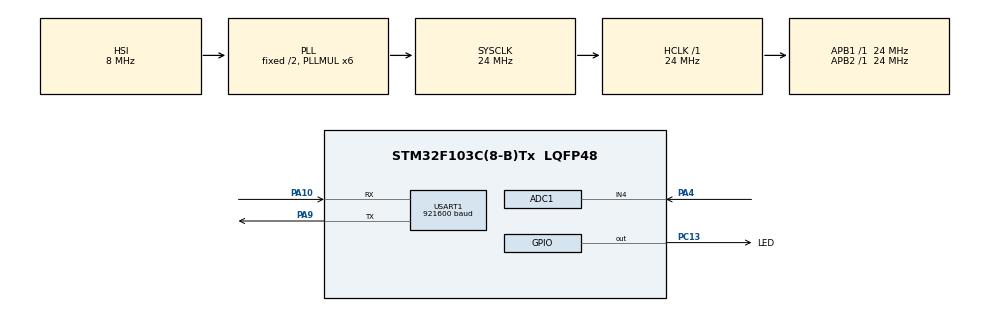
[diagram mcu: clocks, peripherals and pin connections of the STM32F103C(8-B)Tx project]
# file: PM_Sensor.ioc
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ADC1.Channel-0\#ChannelRegularConversion=ADC_CHANNEL_4
ADC1.ContinuousConvMode=ENABLE
ADC1.ExternalTrigConv=ADC_SOFTWARE_START
ADC1.NbrOfConversionFlag=1
ADC1.Rank-0\#ChannelRegularConversion=1
ADC1.SamplingTime-0\#ChannelRegularConversion=ADC_SAMPLETIME_13CYCLES_5
ADC1.master=1
Dma.ADC1.0.Direction=DMA_PERIPH_TO_MEMORY
Dma.ADC1.0.Instance=DMA1_Channel1
Dma.ADC1.0.MemDataAlignment=DMA_MDATAALIGN_HALFWORD
Dma.ADC1.0.MemInc=DMA_MINC_ENABLE
Dma.ADC1.0.Mode=DMA_NORMAL
Dma.ADC1.0.PeriphDataAlignment=DMA_PDATAALIGN_HALFWORD
Dma.ADC1.0.PeriphInc=DMA_PINC_DISABLE
Dma.ADC1.0.Priority=DMA_PRIORITY_HIGH
Dma.Request0=ADC1
Dma.Request1=USART1_TX
Dma.USART1_TX.1.Direction=DMA_MEMORY_TO_PERIPH
Dma.USART1_TX.1.Instance=DMA1_Channel4
Dma.USART1_TX.1.MemDataAlignment=DMA_MDATAALIGN_BYTE
Dma.USART1_TX.1.MemInc=DMA_MINC_ENABLE
Dma.USART1_TX.1.Mode=DMA_NORMAL
Dma.USART1_TX.1.PeriphDataAlignment=DMA_PDATAALIGN_BYTE
Dma.USART1_TX.1.PeriphInc=DMA_PINC_DISABLE
Dma.USART1_TX.1.Priority=DMA_PRIORITY_MEDIUM
Mcu.Family=STM32F1
Mcu.Name=STM32F103C(8-B)Tx
Mcu.Package=LQFP48
NVIC.DMA1_Channel1_IRQn=true\:1\:0\:true\:false\:true\:false\:true\:true
NVIC.DMA1_Channel4_IRQn=true\:0\:0\:false\:false\:true\:false\:true\:true
NVIC.PriorityGroup=NVIC_PRIORITYGROUP_4
NVIC.USART1_IRQn=true\:0\:0\:false\:false\:true\:true\:true\:true
PA10.Mode=Asynchronous
PA10.Signal=USART1_RX
PA13.Mode=Serial_Wire
PA13.Signal=SYS_JTMS-SWDIO
PA14.Mode=Serial_Wire
PA14.Signal=SYS_JTCK-SWCLK
PA4.Signal=ADCx_IN4
PA9.Mode=Asynchronous
PA9.Signal=USART1_TX
PC13-TAMPER-RTC.GPIO_Label=LED
PC13-TAMPER-RTC.PinState=GPIO_PIN_SET
PC13-TAMPER-RTC.Signal=GPIO_Output
PC14-OSC32_IN.Mode=LSE-External-Oscillator
PC14-OSC32_IN.Signal=RCC_OSC32_IN
PC15-OSC32_OUT.Mode=LSE-External-Oscillator
PC15-OSC32_OUT.Signal=RCC_OSC32_OUT
PD0-OSC_IN.Mode=HSE-External-Oscillator
PD0-OSC_IN.Signal=RCC_OSC_IN
PD1-OSC_OUT.Mode=HSE-External-Oscillator
PD1-OSC_OUT.Signal=RCC_OSC_OUT
ProjectManager.HeapSize=0x200
ProjectManager.StackSize=0x400
ProjectManager.TargetToolchain=MDK-ARM V5.32
RCC.AHBFreq_Value=24000000
RCC.APB1Freq_Value=24000000
RCC.APB1TimFreq_Value=24000000
RCC.APB2Freq_Value=24000000
RCC.APB2TimFreq_Value=24000000
RCC.HCLKFreq_Value=24000000
RCC.PLLMUL=RCC_PLL_MUL6
RCC.SYSCLKFreq_VALUE=24000000
RCC.SYSCLKSource=RCC_SYSCLKSOURCE_PLLCLK
RCC.USBFreq_Value=24000000
SH.ADCx_IN4.0=ADC1_IN4,IN4
USART1.BaudRate=921600
USART1.VirtualMode=VM_ASYNC
board=custom

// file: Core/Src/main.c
/* USER CODE BEGIN Header */
/**
  ******************************************************************************
  * @file           : main.c
  * @brief          : Main program body
  ******************************************************************************
  * @attention
  *
  * Copyright (c) 2026 STMicroelectronics.
  * All rights reserved.
  *
  * This software is licensed under terms that can be found in the LICENSE file
  * in the root directory of this software component.
  * If no LICENSE file comes with this software, it is provided AS-IS.
  *
  ******************************************************************************
  */
/* USER CODE END Header */
#include "main.h"

ADC_HandleTypeDef hadc1;
DMA_HandleTypeDef hdma_adc1;

UART_HandleTypeDef huart1;
DMA_HandleTypeDef hdma_usart1_tx;

/* USER CODE BEGIN PV */
uint16_t adc_buffer[ADC_BUF_SIZE];
uint8_t uart_tx_buf[3*(ADC_BUF_SIZE/2)];   // byte buffer for UART DMA
volatile uint8_t uart_tx_busy = 0;   // guard flag — don't send if previous not done

int baseline = 0;
int current_peak = 0.0f;
uint16_t peak_index = 0;

volatile uint32_t bin_03 = 0;
volatile uint32_t bin_05 = 0;
volatile uint32_t bin_10 = 0;
volatile uint32_t bin_25 = 0;
volatile uint32_t bin_50 = 0;
volatile uint32_t bin_100 = 0;

volatile uint32_t particles_03  = 0;
volatile uint32_t particles_05  = 0;
volatile uint32_t particles_10  = 0;
volatile uint32_t particles_25  = 0;
volatile uint32_t particles_50  = 0;
volatile uint32_t particles_100 = 0;

volatile int final_peak=0;
volatile int hist[101];

volatile uint32_t ms_counter = 0;

volatile bool ADC_ConvHalfCplt = 0;
volatile bool ADC_ConvCplt = 0;

/* USER CODE END PV */

void SystemClock_Config(void);
static void MX_GPIO_Init(void);
static void MX_DMA_Init(void);
static void MX_ADC1_Init(void);
static void MX_USART1_UART_Init(void);
/* USER CODE BEGIN PFP */
void process_samples(uint16_t *data, uint16_t len);
void log_peak(float peak);
void classify_particle(uint16_t peak);
/* USER CODE END PFP */

int main(void)
{

  /* MCU Configuration--------------------------------------------------------*/

  /* Reset of all peripherals, Initializes the Flash interface and the Systick. */
  HAL_Init();

  /* Configure the system clock */
  SystemClock_Config();

  /* Initialize all configured peripherals */
  MX_GPIO_Init();
  MX_DMA_Init();
  MX_ADC1_Init();
  MX_USART1_UART_Init();
  /* USER CODE BEGIN 2 */
	HAL_ADCEx_Calibration_Start(&hadc1);
	HAL_ADC_Start_DMA(&hadc1, (uint32_t*)adc_buffer, ADC_BUF_SIZE);

  /* USER CODE END 2 */

  /* Infinite loop */
  while (1)
  {

    /* USER CODE BEGIN 3 */
		if(ADC_ConvHalfCplt)
		{
			ADC_ConvHalfCplt = 0;
			process_samples(&adc_buffer[0], ADC_BUF_SIZE/2);
		}
		else if(ADC_ConvCplt)
		{
			ADC_ConvCplt = 0;
			process_samples(&adc_buffer[ADC_BUF_SIZE/2], ADC_BUF_SIZE/2);
		}
  }
  /* USER CODE END 3 */
}

void SystemClock_Config(void)
{
  RCC_OscInitTypeDef RCC_OscInitStruct = {0};
  RCC_ClkInitTypeDef RCC_ClkInitStruct = {0};
  RCC_PeriphCLKInitTypeDef PeriphClkInit = {0};

  /** Initializes the RCC Oscillators according to the specified parameters
  * in the RCC_OscInitTypeDef structure.
  */
  RCC_OscInitStruct.OscillatorType = RCC_OSCILLATORTYPE_HSI;
  RCC_OscInitStruct.HSIState = RCC_HSI_ON;
  RCC_OscInitStruct.HSICalibrationValue = RCC_HSICALIBRATION_DEFAULT;
  RCC_OscInitStruct.PLL.PLLState = RCC_PLL_ON;
  RCC_OscInitStruct.PLL.PLLSource = RCC_PLLSOURCE_HSI_DIV2;
  RCC_OscInitStruct.PLL.PLLMUL = RCC_PLL_MUL6;
  if (HAL_RCC_OscConfig(&RCC_OscInitStruct) != HAL_OK)
  {
    Error_Handler();
  }

  /** Initializes the CPU, AHB and APB buses clocks
  */
  RCC_ClkInitStruct.ClockType = RCC_CLOCKTYPE_HCLK|RCC_CLOCKTYPE_SYSCLK
                              |RCC_CLOCKTYPE_PCLK1|RCC_CLOCKTYPE_PCLK2;
  RCC_ClkInitStruct.SYSCLKSource = RCC_SYSCLKSOURCE_PLLCLK;
  RCC_ClkInitStruct.AHBCLKDivider = RCC_SYSCLK_DIV1;
  RCC_ClkInitStruct.APB1CLKDivider = RCC_HCLK_DIV1;
  RCC_ClkInitStruct.APB2CLKDivider = RCC_HCLK_DIV1;

  if (HAL_RCC_ClockConfig(&RCC_ClkInitStruct, FLASH_LATENCY_0) != HAL_OK)
  {
    Error_Handler();
  }
  PeriphClkInit.PeriphClockSelection = RCC_PERIPHCLK_ADC;
  PeriphClkInit.AdcClockSelection = RCC_ADCPCLK2_DIV2;
  if (HAL_RCCEx_PeriphCLKConfig(&PeriphClkInit) != HAL_OK)
  {
    Error_Handler();
  }
}

static void MX_ADC1_Init(void)
{

  ADC_ChannelConfTypeDef sConfig = {0};

  /** Common config
  */
  hadc1.Instance = ADC1;
  hadc1.Init.ScanConvMode = ADC_SCAN_DISABLE;
  hadc1.Init.ContinuousConvMode = ENABLE;
  hadc1.Init.DiscontinuousConvMode = DISABLE;
  hadc1.Init.ExternalTrigConv = ADC_SOFTWARE_START;
  hadc1.Init.DataAlign = ADC_DATAALIGN_RIGHT;
  hadc1.Init.NbrOfConversion = 1;
  if (HAL_ADC_Init(&hadc1) != HAL_OK)
  {
    Error_Handler();
  }

  /** Configure Regular Channel
  */
  sConfig.Channel = ADC_CHANNEL_4;
  sConfig.Rank = ADC_REGULAR_RANK_1;
  sConfig.SamplingTime = ADC_SAMPLETIME_1CYCLE_5;
  if (HAL_ADC_ConfigChannel(&hadc1, &sConfig) != HAL_OK)
  {
    Error_Handler();
  }
  /* USER CODE BEGIN ADC1_Init 2 */

	//adc sample time calculation :
	// 12000000 clk freq / (12.5 sar tconv + sampling time)

  /* USER CODE END ADC1_Init 2 */

}

static void MX_USART1_UART_Init(void)
{

  huart1.Instance = USART1;
  huart1.Init.BaudRate = 921600;
  huart1.Init.WordLength = UART_WORDLENGTH_8B;
  huart1.Init.StopBits = UART_STOPBITS_1;
  huart1.Init.Parity = UART_PARITY_NONE;
  huart1.Init.Mode = UART_MODE_TX_RX;
  huart1.Init.HwFlowCtl = UART_HWCONTROL_NONE;
  huart1.Init.OverSampling = UART_OVERSAMPLING_16;
  if (HAL_UART_Init(&huart1) != HAL_OK)
  {
    Error_Handler();
  }

}

static void MX_DMA_Init(void)
{

  /* DMA controller clock enable */
  __HAL_RCC_DMA1_CLK_ENABLE();

  /* DMA interrupt init */
  /* DMA1_Channel1_IRQn interrupt configuration */
  HAL_NVIC_SetPriority(DMA1_Channel1_IRQn, 1, 0);
  HAL_NVIC_EnableIRQ(DMA1_Channel1_IRQn);
  /* DMA1_Channel4_IRQn interrupt configuration */
  HAL_NVIC_SetPriority(DMA1_Channel4_IRQn, 0, 0);
  HAL_NVIC_EnableIRQ(DMA1_Channel4_IRQn);

}

static void MX_GPIO_Init(void)
{
  GPIO_InitTypeDef GPIO_InitStruct = {0};

  /* GPIO Ports Clock Enable */
  __HAL_RCC_GPIOC_CLK_ENABLE();
  __HAL_RCC_GPIOD_CLK_ENABLE();
  __HAL_RCC_GPIOA_CLK_ENABLE();

  /*Configure GPIO pin Output Level */
  HAL_GPIO_WritePin(LED_GPIO_Port, LED_Pin, GPIO_PIN_SET);

  /*Configure GPIO pin : LED_Pin */
  GPIO_InitStruct.Pin = LED_Pin;
  GPIO_InitStruct.Mode = GPIO_MODE_OUTPUT_PP;
  GPIO_InitStruct.Pull = GPIO_NOPULL;
  GPIO_InitStruct.Speed = GPIO_SPEED_FREQ_LOW;
  HAL_GPIO_Init(LED_GPIO_Port, &GPIO_InitStruct);

}

/* USER CODE BEGIN 4 */

/* ------------------- DMA Callbacks ------------------- */

void HAL_ADC_ConvHalfCpltCallback(ADC_HandleTypeDef* hadc)
{
    if(hadc->Instance == ADC1)
    {
			ADC_ConvHalfCplt = 1;
      //process_samples(&adc_buffer[0], ADC_BUF_SIZE/2);
    }

//		/* Send first half of adc_buffer over UART DMA */
//		if(!uart_tx_busy)
//		{
//				uart_tx_busy = 1;
//				/* Pack uint16 as two bytes each — MSB first */
//				for(int i = 0; i < ADC_BUF_SIZE/2; i++)
//				{
//							uart_tx_buf[i*3]   = 0xFF;
//							uart_tx_buf[i*3+1] = (adc_buffer[i] >> 8) & 0x0F;
//							uart_tx_buf[i*3+2] =  adc_buffer[i] & 0xFF;
//				}
//				HAL_UART_Transmit_DMA(&huart1, uart_tx_buf, 3*(ADC_BUF_SIZE/2));
//		}
}

void HAL_ADC_ConvCpltCallback(ADC_HandleTypeDef* hadc)
{
    if(hadc->Instance == ADC1)
    {
			ADC_ConvCplt = 1;
        //process_samples(&adc_buffer[ADC_BUF_SIZE/2], ADC_BUF_SIZE/2);

//			  /* Send second half of adc_buffer over UART DMA */
//        if(!uart_tx_busy)
//        {
//            uart_tx_busy = 1;
//            for(int i = 0; i < ADC_BUF_SIZE/2; i++)
//            {
//                uart_tx_buf[i*3]   = 0xFF;
//                uart_tx_buf[i*3+1] = (adc_buffer[ADC_BUF_SIZE/2 + i] >> 8) & 0x0F;
//                uart_tx_buf[i*3+2] =  adc_buffer[ADC_BUF_SIZE/2 + i] & 0xFF;
//            }
//            HAL_UART_Transmit_DMA(&huart1, uart_tx_buf, 3*(ADC_BUF_SIZE/2));
//        }

			  HAL_ADC_Start_DMA(&hadc1, (uint32_t*)adc_buffer, ADC_BUF_SIZE);

    }
}

void HAL_UART_TxCpltCallback(UART_HandleTypeDef *huart)
{
    if(huart->Instance == USART1)
        uart_tx_busy = 0;
}

/* ------------------- Processing Function ------------------- */

void process_samples(uint16_t *data, uint16_t len)
{
    static int prev_sample = 0;
    static int rising = 0;

    for(uint16_t i = 0; i < len; i++)
    {
        int sample = data[i];

        /* -------- Baseline tracking -------- */

//				if(abs(sample - (int)baseline) < THRESHOLD_LOW)
//				{
//						baseline = 15;//baseline + BASELINE_ALPHA * (sample - baseline);
//				}
					baseline = 15;
					sample = sample - baseline;
					int delta = sample - prev_sample;
        /* -------- Rising detection -------- */

        if(delta >= 0)
        {
            rising++;

            if(sample > current_peak)
                current_peak = sample;
        }
        else
        {
            /* -------- Falling detected ? final peak -------- */

            if(rising > 6)
            {
								final_peak  = current_peak;
								classify_particle(final_peak);

								if(final_peak > 4000)
									final_peak = 4000;

								hist[final_peak/40]++;
            }

            rising = 0;
            current_peak = 0;
        }

        prev_sample = sample;
    }
}

/* ------------------- Classify Peaks ------------------- */

void classify_particle(uint16_t peak)
{
    if(peak > 550)
        bin_100++;

    else if(peak > 450)
        bin_50++;

    else if(peak > 400)
        bin_25++;

    else if(peak > 350)
        bin_10++;

    else if(peak > 150)
        bin_05++;

    else if(peak > 81)
        bin_03++;
}

/* ------------------- Find Concentration ------------------- */

float particle_concentration(float diameter, uint32_t N)
{
    float volume_ratio = N / FLOW_VOLUME;

    float conc = (PI/6.0f) * RHO * diameter * diameter * diameter * volume_ratio;

    return conc * 1e9f;   // g/m
}

/* ------------------- debug ------------------- */

/* USER CODE END 4 */

void Error_Handler(void)
{
  __disable_irq();
  while (1)
  {
  }
}
